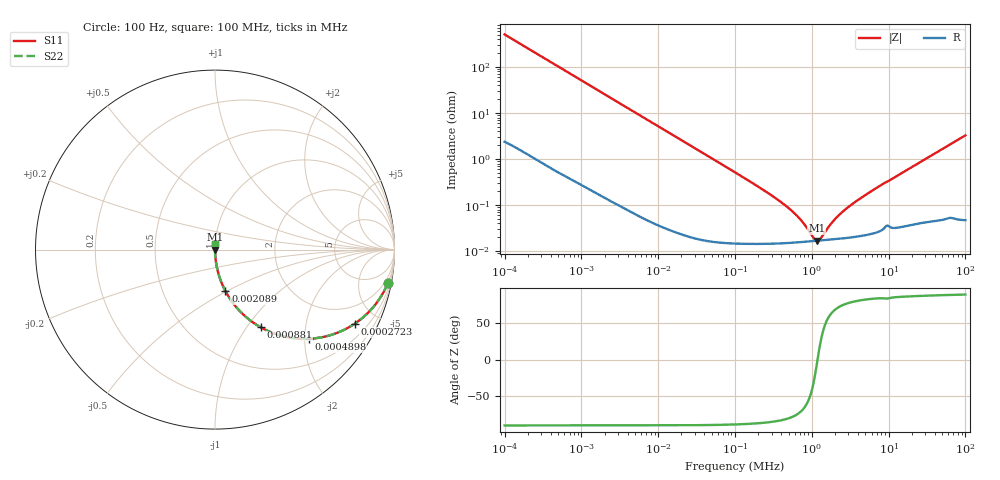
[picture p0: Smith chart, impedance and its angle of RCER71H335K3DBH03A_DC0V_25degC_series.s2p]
!Murata Part Number: RCER71H335K3DBH03A
!These Parameters are Measured in Series Mode Connection
!  o--ll--o
!Port1  Port2
!  o------o
!Operation Temp=25[degC], DC Bias Voltage=0[V]
!Freq. Start=100[Hz] Stop=100[MHz], 401[Steps]
!Data Generated on Jun 23, 2023
# Hz S RI R 50
!Freq.(Hz) S11(Real) S11(Imag) S21(Real) S21(Imag) S12(Real) S12(Imag) S22(Real) S22(Imag)
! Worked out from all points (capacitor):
!   401 points, 100 Hz to 100 MHz, reference 50 ohm
!   read as one part in series: C = 3.12 uF near 107.2 Hz
!   lowest |Z| = 16.9 mohm at 1.161 MHz (marker M1)
!   series resonance near 1.187 MHz, so ESL is about 5.8 nH
!   S11 on the Smith chart (normalised r, x): 100 Hz: 1, -10; 272.3 Hz: 1.02, -3.75; 489.8 Hz: 1.01, -2.09; 881 Hz: 1.01, -1.16; 2.089 kHz: 1.00, -0.49; 100 MHz: 1.00, +0.07
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100  0.9621 -0.1887  0.0379 0.1887  0.0379 0.1887  0.9621 -0.1887
173.7801  0.8949 -0.3042  0.1051 0.3042  0.1051 0.3042  0.8949 -0.3042
272.2701  0.7778 -0.4133  0.2222 0.4133  0.2222 0.4133  0.7778 -0.4133
489.7788  0.5221 -0.497  0.4779 0.497  0.4779 0.497  0.5221 -0.497
881.0489  0.2543 -0.4328  0.7457 0.4328  0.7457 0.4328  0.2543 -0.4328
1011.579  0.206 -0.4018  0.794 0.4018  0.794 0.4018  0.206 -0.4018
1428.894  0.1158 -0.3173  0.8842 0.3173  0.8842 0.3173  0.1158 -0.3173
2089.296  0.0583 -0.2316  0.9417 0.2316  0.9417 0.2316  0.0583 -0.2316
4315.191  0.0148 -0.1177  0.9852 0.1177  0.9852 0.1177  0.0148 -0.1177
10232.93  0.0029 -0.0504  0.9971 0.0504  0.9971 0.0504  0.0029 -0.0504
100000  0.000172 -0.00515  0.9998 0.00515  0.9998 0.00515  0.000172 -0.00515
272270.1  0.000147 -0.0018  0.9999 0.0018  0.9999 0.0018  0.000147 -0.0018
489778.8  0.000151 -0.000871  0.9998 0.000871  0.9998 0.000871  0.000151 -0.000871
716143.4  0.000157 -0.000453  0.9998 0.000453  0.9998 0.000453  0.000157 -0.000453
1011579  0.000165 -0.000137  0.9998 0.000137  0.9998 0.000137  0.000165 -0.000137
1161449  0.000168 -1.86e-05  0.9998 1.86e-05  0.9998 1.86e-05  0.000168 -1.86e-05
1288250  0.000171 6.93e-05  0.9998 -6.93e-05  0.9998 -6.93e-05  0.000171 6.93e-05
1883649  0.000181 0.000402  0.9998 -0.000402  0.9998 -0.000402  0.000181 0.000402
2754229  0.000193 0.000789  0.9998 -0.000789  0.9998 -0.000789  0.000193 0.000789
4786301  0.000221 0.00157  0.9998 -0.00157  0.9998 -0.00157  0.000221 0.00157
1.023293e7  0.000353 0.0034  0.9996 -0.0034  0.9996 -0.0034  0.000353 0.0034
1e8  0.00154 0.0327  0.9985 -0.0327  0.9985 -0.0327  0.00154 0.0327
